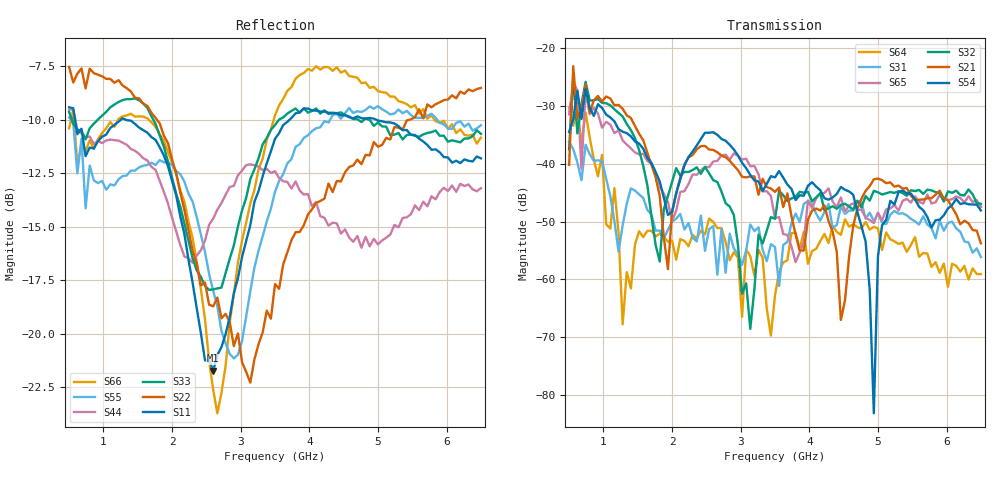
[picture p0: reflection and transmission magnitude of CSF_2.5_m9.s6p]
!Keysight Technologies,M9804A,MY58100912,A.14.10.03
!Date: Thursday, April 27, 2023 10:28:33
!Correction: S11(C  6-Port  )
!S12(C  6-Port  )
!S13(C  6-Port  )
!S14(C  6-Port  )
!S15(C  6-Port  )
!S16(C  6-Port  )
!S21(C  6-Port  )
!S22(C  6-Port  )
!S23(C  6-Port  )
!S24(C  6-Port  )
!S25(C  6-Port  )
!S26(C  6-Port  )
!S31(C  6-Port  )
!S32(C  6-Port  )
!S33(C  6-Port  )
!S34(C  6-Port  )
!S35(C  6-Port  )
!S36(C  6-Port  )
!S41(C  6-Port  )
!S42(C  6-Port  )
!S43(C  6-Port  )
!S44(C  6-Port  )
!S45(C  6-Port  )
!S46(C  6-Port  )
!S51(C  6-Port  )
!S52(C  6-Port  )
!S53(C  6-Port  )
!S54(C  6-Port  )
!S55(C  6-Port  )
!S56(C  6-Port  )
!S61(C  6-Port  )
!S62(C  6-Port  )
!S63(C  6-Port  )
!S64(C  6-Port  )
!S65(C  6-Port  )
!S66(C  6-Port  )
!S6P File: Measurement: :
# Hz S  RI  R 50
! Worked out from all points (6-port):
!   101 points, 500 MHz to 6.5 GHz, reference 50 ohm
!   strongest paths, dB at 500 MHz, 2 GHz, 3.5 GHz, 5 GHz, 6.5 GHz:
!     S54: -34.5, -48.3, -42.3, -56.0, -48.1
!     S21: -40.2, -48.3, -44.8, -42.5, -53.7
!     S32: -37.5, -43.1, -49.5, -44.9, -46.9
!     S65: -31.4, -49.8, -49.4, -48.4, -47.4
!     S31: -36.2, -50.0, -54.4, -48.6, -56.1
!     S64: -30.2, -53.3, -62.8, -51.2, -59.1
!   lowest |S11| = -21.7 dB at 2.6 GHz (marker M1), VSWR 1.18, Z = 42.7 + j1.95 ohm
!   |S11| at or under -10 dB: 586.1 MHz to 1.259 GHz (672.7 MHz wide, 72.9 % of centre); 1.318 GHz to 3.716 GHz (2.398 GHz wide, 95.3 % of centre); 4.969 GHz to end of sweep
